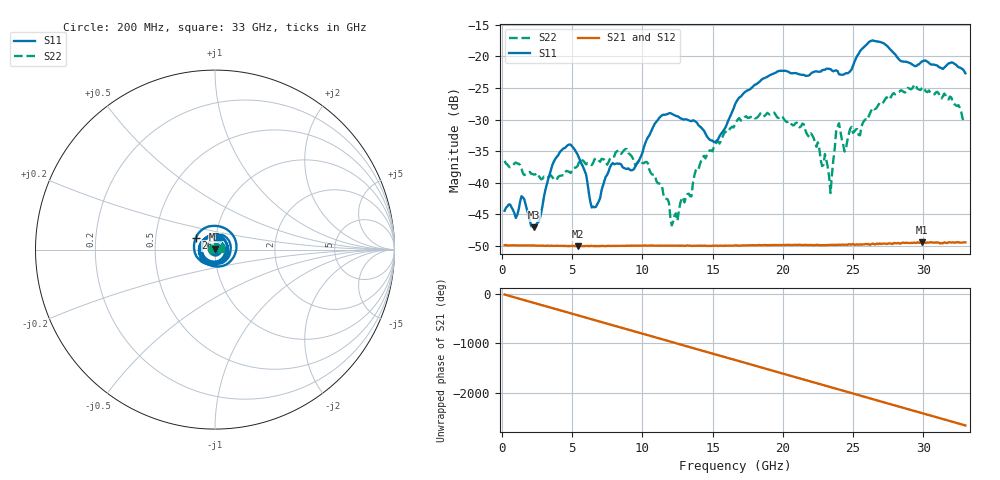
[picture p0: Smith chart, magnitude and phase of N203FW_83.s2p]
# GHZ S RI R 50
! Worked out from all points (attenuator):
!   329 points, 200 MHz to 33 GHz, reference 50 ohm
!   highest |S21| = -49.47 dB at 29.9 GHz (marker M1); lowest = -50.1 dB at 5.4 GHz (marker M2)
!   lowest |S11| = -47.1 dB at 2.3 GHz (marker M3), VSWR 1.01, Z = 50.1 + j0.419 ohm
!   |S11| at or under -10 dB: start of sweep to end of sweep
!   |S22| runs from -46.8 to -24.4 dB; largest |S21 - S12| = 8.8e-05
!   S11 on the Smith chart (normalised r, x): 200 MHz: 1.01, +0.00; 26 GHz: 0.80, +0.11; 33 GHz: 1.03, +0.15
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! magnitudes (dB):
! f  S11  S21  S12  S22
! 200 MHz  -44.5  -50.0  -49.9  -36.6
! 1.4 GHz  -42.2  -50.0  -50.0  -37.8
! 2.3 GHz  -47.1  -50.0  -50.0  -38.7
! 3.8 GHz  -36.3  -50.1  -50.0  -39.6
! 5.4 GHz  -35.6  -50.1  -50.1  -37.4
! 5.7 GHz  -37.1  -50.1  -50.1  -36.4
! 6.7 GHz  -43.8  -50.1  -50.0  -36.2
! 7.8 GHz  -37.2  -50.1  -50.1  -35.9
! 8.9 GHz  -37.9  -50.0  -50.0  -34.7
! 11.2 GHz  -29.8  -50.0  -50.0  -40.1
! 12.1 GHz  -29.1  -50.0  -50.0  -46.8
! 15.1 GHz  -33.6  -50.0  -50.0  -34.3
! 16.6 GHz  -27.6  -50.0  -50.0  -30.8
! 22.1 GHz  -22.5  -49.9  -49.9  -32.5
! 23 GHz  -22.1  -50.0  -49.9  -35.5
! 23.4 GHz  -22.0  -49.9  -49.9  -41.7
! 24 GHz  -22.8  -49.9  -49.9  -30.6
! 24.4 GHz  -22.8  -49.9  -49.8  -35.1
! 26 GHz  -18.0  -49.8  -49.8  -30.1
! 27.6 GHz  -18.8  -49.7  -49.7  -26.8
! 29.9 GHz  -20.8  -49.5  -49.6  -25.0
! 33 GHz  -22.7  -49.5  -49.5  -30.1
